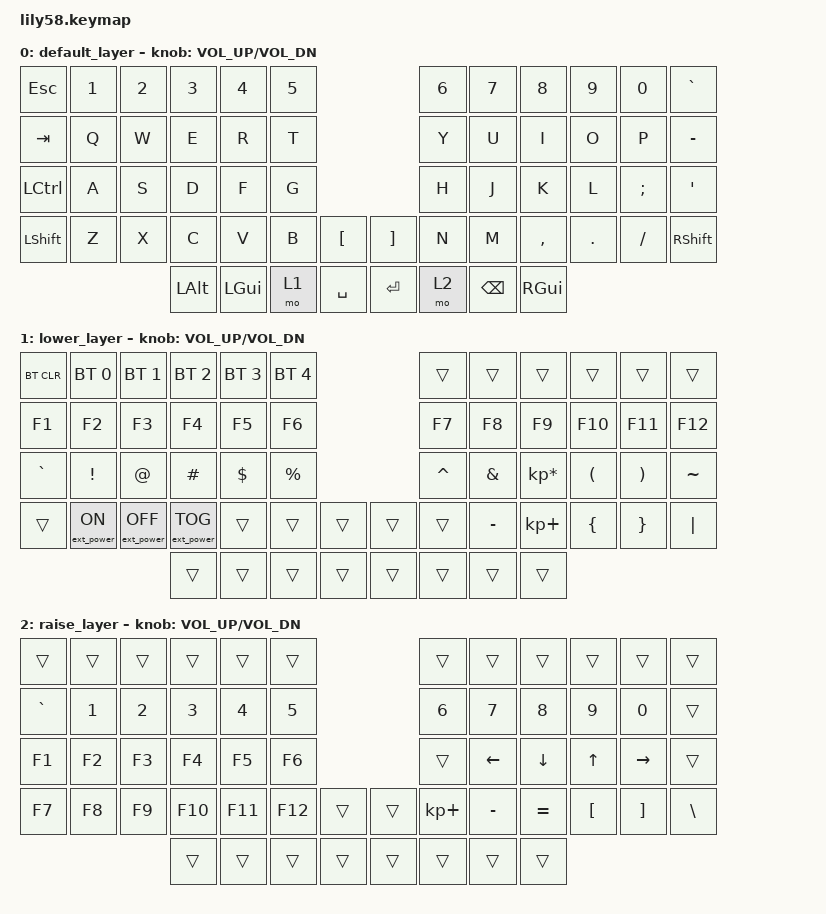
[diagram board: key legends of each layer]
/*
 * Copyright (c) 2020 The ZMK Contributors
 *
 * SPDX-License-Identifier: MIT
 */

#include <behaviors.dtsi>
#include <dt-bindings/zmk/keys.h>
#include <dt-bindings/zmk/bt.h>
#include <dt-bindings/zmk/ext_power.h>
#include <dt-bindings/zmk/outputs.h>
#include <dt-bindings/led/led.h>

/*
 * Temporarily here because nice nano v2 spi is not defined in ZMK yet
 * Source: https://github.com/zmkfirmware/zmk/blob/main/app/boards/shields/reviung41/boards/nice_nano.overlay
 * GitHub Issue: https://github.com/zmkfirmware/zmk/issues/885
 */

&spi1 {
	compatible = "nordic,nrf-spim";
	status = "okay";
	mosi-pin = <6>;
	// Unused pins, needed for SPI definition, but not used by the ws2812 driver itself.
	sck-pin = <5>;
	miso-pin = <7>;

	led_strip: ws2812@0 {
		compatible = "worldsemi,ws2812-spi";
		label = "WS2812";

		/* SPI */
		reg = <0>; /* ignored, but necessary for SPI bindings */
		spi-max-frequency = <4000000>;

		/* WS2812 */
		chain-length = <5>; /* number of LEDs */
		spi-one-frame = <0x70>;
		spi-zero-frame = <0x40>;
		color-mapping = <LED_COLOR_ID_GREEN LED_COLOR_ID_RED LED_COLOR_ID_BLUE>;
	};
};

&pro_micro_i2c {
  status = "okay";
  scl-pin = <20>;
  sda-pin = <17>;
  oled: ssd1306@3c {
    compatible = "solomon,ssd1306fb";
    reg = <0x3c>;
    label = "SSD1306";
    width = <128>;
    height = <32>;
    segment-offset = <0>;
    page-offset = <0>;
    display-offset = <0>;
    multiplex-ratio = <31>;
    com-invdir;
    segment-remap;
    com-sequential;
    prechargep = <0x22>;
  };
};

/ {
	chosen {
		zmk,underglow = &led_strip;
		zephyr,display = &oled;
	};
};

/ {
        ext-power {
                init-delay-ms = <50>;
        };
};

/ {
	keymap {
		compatible = "zmk,keymap";

		default_layer {
// ------------------------------------------------------------------------------------------------------------
// |  ESC  |  1  |  2  |  3   |  4   |  5   |                   |  6   |  7    |  8    |  9   |   0   |   `   |
// |  TAB  |  Q  |  W  |  E   |  R   |  T   |                   |  Y   |  U    |  I    |  O   |   P   |   -   |
// |  CTRL |  A  |  S  |  D   |  F   |  G   |                   |  H   |  J    |  K    |  L   |   ;   |   '   |
// | SHIFT |  Z  |  X  |  C   |  V   |  B   |   "["  |  |  "]"  |  N   |  M    |  ,    |  .   |   /   | SHIFT |
//                     | ALT  | GUI  | LOWER|  SPACE |  | ENTER | RAISE| BSPC  | GUI   |
			bindings = <
&kp ESC   &kp N1 &kp N2 &kp N3   &kp N4   &kp N5                     &kp N6 &kp N7   &kp N8    &kp N9  &kp N0   &kp GRAVE
&kp TAB   &kp Q  &kp W  &kp E    &kp R    &kp T                      &kp Y  &kp U    &kp I     &kp O   &kp P    &kp MINUS
&kp LCTRL &kp A  &kp S  &kp D    &kp F    &kp G                      &kp H  &kp J    &kp K     &kp L   &kp SEMI &kp SQT
&kp LSHFT &kp Z  &kp X  &kp C    &kp V    &kp B  &kp LBKT   &kp RBKT &kp N  &kp M    &kp COMMA &kp DOT &kp FSLH &kp RSHFT
                        &kp LALT &kp LGUI &mo 1  &kp SPACE  &kp RET  &mo 2  &kp BSPC &kp RGUI
			>;

			sensor-bindings = <&inc_dec_kp C_VOL_UP C_VOL_DN>;
		};

		lower_layer {
// ------------------------------------------------------------------------------------------------------------
// | BTCLR | BT1 | BT2 |  BT3 |  BT4 |  BT5 |                   |      |       |       |      |       |       |
// |  F1   |  F2 |  F3 |  F4  |  F5  |  F6  |                   |  F7  |  F8   |  F9   |  F10 |  F11  |  F12  |
// |   `   |  !  |  @  |  #   |  $   |  %   |                   |  ^   |  &    |  *    |  (   |   )   |   ~   |
// |       |     |     |      |      |      |        |  |       |      |  _    |  +    |  {   |   }   |  "|"  |
//                     |      |      |      |        |  |       |      |       |       |
			bindings = <
&bt BT_CLR &bt BT_SEL 0     &bt BT_SEL 1      &bt BT_SEL 2      &bt BT_SEL 3 &bt BT_SEL 4                 &trans    &trans    &trans          &trans    &trans    &trans
&kp F1     &kp F2           &kp F3            &kp F4            &kp F5       &kp F6                       &kp F7    &kp F8    &kp F9          &kp F10   &kp F11   &kp F12
&kp GRAVE  &kp EXCL         &kp AT            &kp HASH          &kp DOLLAR   &kp PRCNT                    &kp CARET &kp AMPS  &kp KP_MULTIPLY &kp LPAR  &kp RPAR  &kp TILDE
&trans     &ext_power EP_ON &ext_power EP_OFF &ext_power EP_TOG &trans       &trans    &trans   &trans    &trans    &kp MINUS &kp KP_PLUS     &kp LBRC  &kp RBRC  &kp PIPE
                                              &trans            &trans       &trans    &trans   &trans    &trans    &trans    &trans
			>;

			sensor-bindings = <&inc_dec_kp C_VOL_UP C_VOL_DN>;
		};

		raise_layer {
// ------------------------------------------------------------------------------------------------------------
// |       |     |     |      |      |      |                   |      |       |       |      |       |       |
// |   `   |  1  |  2  |  3   |  4   |  5   |                   |  6   |   7   |   8   |  9   |   0   |       |
// |   F1  |  F2 |  F3 |  F4  |  F5  |  F6  |                   |      |   <-  |   v   |  ^   |  ->   |       |
// |   F7  |  F8 |  F9 |  F10 |  F11 |  F12 |        |  |       |  +   |   -   |   =   |  [   |   ]   |   \   |
//                     |      |      |      |        |  |       |      |       |       |
			bindings = <
&trans    &trans &trans &trans  &trans  &trans                       &trans      &trans    &trans    &trans   &trans    &trans
&kp GRAVE &kp N1 &kp N2 &kp N3  &kp N4  &kp N5                       &kp N6      &kp N7    &kp N8    &kp N9   &kp N0    &trans
&kp F1    &kp F2 &kp F3 &kp F4  &kp F5  &kp F6                       &trans      &kp LEFT  &kp DOWN  &kp UP   &kp RIGHT &trans
&kp F7    &kp F8 &kp F9 &kp F10 &kp F11 &kp F12   &trans   &trans    &kp KP_PLUS &kp MINUS &kp EQUAL &kp LBKT &kp RBKT  &kp BSLH
                        &trans  &trans  &trans    &trans   &trans    &trans      &trans    &trans
			>;

			sensor-bindings = <&inc_dec_kp C_VOL_UP C_VOL_DN>;
		};
	};
};
